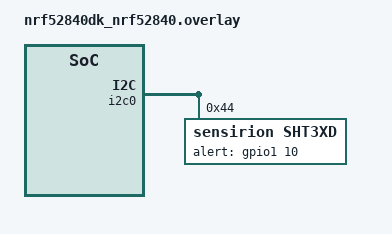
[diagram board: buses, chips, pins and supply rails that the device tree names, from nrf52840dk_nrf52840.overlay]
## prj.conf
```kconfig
# Enable OpenThread FTD features set
CONFIG_OPENTHREAD_NORDIC_LIBRARY_FTD=y
CONFIG_STDOUT_CONSOLE=y
CONFIG_I2C=y
CONFIG_SENSOR=y
# CONFIG_CBPRINTF_FP_SUPPORT=y

# L2 OpenThread enabling
# CONFIG_NET_L2_OPENTHREAD=y
# Generic networking options
# CONFIG_NETWORKING=y

# CONFIG_OPENTHREAD_MANUAL_START=n
# CONFIG_OPENTHREAD_NETWORK_NAME="WSNHANAN97"
# CONFIG_OPENTHREAD_PANID=10097
# CONFIG_OPENTHREAD_XPANID="fb:02:00:00:ab:cd:00:97"
# CONFIG_OPENTHREAD_NETWORKKEY="00:11:22:33:44:55:66:77:88:99:aa:bb:cc:dd:ee:ff"
# CONFIG_SHELL=y
# CONFIG_OPENTHREAD_SHELL=y
# CONFIG_SHELL_ARGC_MAX=26
# CONFIG_SHELL_CMD_BUFF_SIZE=416
# CONFIG_MBEDTLS_SHA1_C=n
# CONFIG_FPU=y
# CONFIG_GPIO=y
# CONFIG_OPENTHREAD_COAP=y
```

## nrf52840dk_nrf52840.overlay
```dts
// To get started, press Ctrl+Space to bring up the completion menu and view the available nodes.

// You can also use the buttons in the sidebar to perform actions on nodes.
// Actions currently available include:

// * Enabling / disabling the node
// * Adding the bus to a bus
// * Removing the node
// * Connecting ADC channels

// For more help, browse the DeviceTree documentation at https://docs.zephyrproject.org/latest/guides/dts/index.html
// You can also visit the nRF DeviceTree extension documentation at https://nrfconnect.github.io/vscode-nrf-connect/devicetree/nrfdevicetree.html

&i2c0 { 
    
    status = "okay";
	sht3xd@44 {
		compatible = "sensirion,sht3xd";
		reg = <0x44>;
		alert-gpios = <&gpio1 10 GPIO_ACTIVE_HIGH>;
	};
};
```

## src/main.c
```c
#include <zephyr/kernel.h>
#include <zephyr/device.h>
#include <zephyr/drivers/sensor.h>
#include <stdio.h>






int main(void)
{
	const struct device *const dev = DEVICE_DT_GET_ANY(sensirion_sht3xd);
	int rs;

	if (!device_is_ready(dev)) {
		printk("sensor: device not ready.\n");
		return 0;
	}
	while (1) {
		struct sensor_value temp, humidity;
		rs = sensor_sample_fetch(dev);
		if (rs < 0) {
			printk("sensor: failed to fetch sample (error: %d)\n", rs);
			return 0;
		}
		rs = sensor_channel_get(dev, SENSOR_CHAN_AMBIENT_TEMP, &temp);
		if (rs < 0) {
			printk("sensor: failed to get temperature (error: %d)\n", rs);
			return 0;
		}
		rs = sensor_channel_get(dev, SENSOR_CHAN_HUMIDITY, &humidity);
		if (rs < 0) {
			printk("sensor: failed to get humidity (error: %d)\n", rs);
			return 0;
		}
		printk("Temperature: %d.%06d °C, Humidity: %d.%06d %%RH\n",
			   temp.val1, temp.val2, humidity.val1, humidity.val2);
		k_sleep(K_SECONDS(1));
	}

}
```
